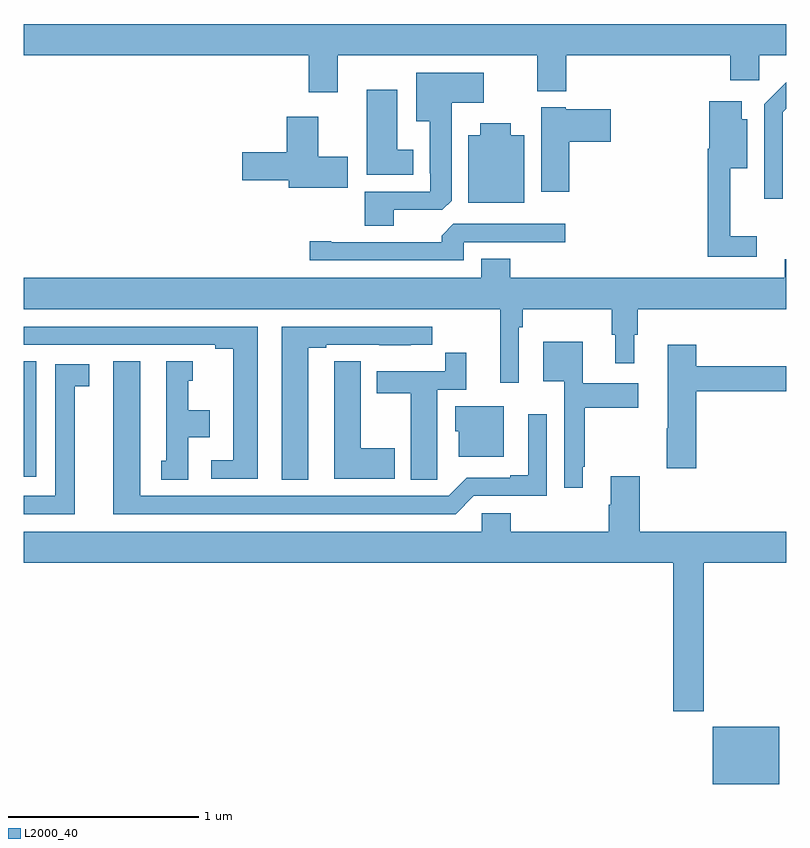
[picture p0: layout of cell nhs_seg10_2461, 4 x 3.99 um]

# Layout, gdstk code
import gdstk
lib = gdstk.Library(unit=1e-6, precision=1e-09)
def R(c, l, rs):  # rectangles x0, y0, x1, y1
    for r in rs: c.add(gdstk.rectangle(r[:2], r[2:], *l))
def P(c, l, *ps):  # polygons
    for p in ps: c.add(gdstk.Polygon(p, *l))
L2000_40 = (2000, 40)

nhs_seg10_2461 = lib.new_cell('nhs_seg10_2461')
R(nhs_seg10_2461, L2000_40, [(246.614,1288.5,246.964,1288.801), (243,1290.111,243.064,1290.719)])
P(nhs_seg10_2461, L2000_40, [(244.648,1292.324),(245.693,1292.324),(245.693,1292.135),(245.846,1292.135),(245.846,1292.324),(246.707,1292.324),(246.707,1292.193),(246.858,1292.193),(246.858,1292.324),(247,1292.324),(247,1292.488),(243,1292.488),(243,1292.324),(244.496,1292.324),(244.496,1292.13),(244.648,1292.13)],
  [(244.942,1291.512),(245.196,1291.512),(245.245,1291.561),(245.245,1292.075),(245.413,1292.075),(245.413,1292.233),(245.06,1292.233),(245.06,1291.979),(245.129,1291.979),(245.129,1291.705),(245.133,1291.705),(245.133,1291.608),(244.79,1291.608),(244.79,1291.429),(244.942,1291.429)],
  [(246.981,1292.025),(247,1292.044),(247,1292.182),(246.885,1292.067),(246.885,1291.572),(246.981,1291.572)],
  [(245.044,1291.828),(244.96,1291.828),(244.96,1292.143),(244.799,1292.143),(244.799,1291.697),(245.044,1291.697)],
  [(246.847,1291.375),(246.707,1291.375),(246.707,1291.73),(246.796,1291.73),(246.796,1291.987),(246.766,1291.987),(246.766,1292.083),(246.596,1292.083),(246.596,1291.834),(246.589,1291.834),(246.589,1291.266),(246.847,1291.266)],
  [(245.861,1291.871),(246.079,1291.871),(246.079,1292.041),(245.844,1292.041),(245.844,1292.05),(245.714,1292.05),(245.714,1291.608),(245.861,1291.608)],
  [(244.699,1291.791),(244.546,1291.791),(244.546,1292.002),(244.379,1292.002),(244.379,1291.814),(244.146,1291.814),(244.146,1291.667),(244.391,1291.667),(244.391,1291.628),(244.699,1291.628)],
  [(245.626,1291.903),(245.554,1291.903),(245.554,1291.966),(245.396,1291.966),(245.396,1291.903),(245.333,1291.903),(245.333,1291.55),(245.626,1291.55)],
  [(245.307,1291.344),(245.842,1291.344),(245.842,1291.44),(245.253,1291.44),(245.192,1291.378),(245.192,1291.344),(244.612,1291.344),(244.612,1291.349),(244.5,1291.349),(244.5,1291.248),(245.307,1291.248)],
  [(245.598,1290.896),(245.618,1290.896),(245.618,1290.992),(246.085,1290.992),(246.085,1290.858),(246.104,1290.858),(246.104,1290.708),(246.202,1290.708),(246.202,1290.858),(246.221,1290.858),(246.221,1290.992),(247,1290.992),(247,1291.254),(246.992,1291.254),(246.992,1291.156),(245.552,1291.156),(245.552,1291.255),(245.399,1291.255),(245.399,1291.156),(243,1291.156),(243,1290.992),(245.501,1290.992),(245.501,1290.606),(245.598,1290.606)],
  [(244.228,1290.9),(243,1290.9),(243,1290.804),(244.004,1290.804),(244.004,1290.784),(244.1,1290.784),(244.1,1290.198),(243.984,1290.198),(243.984,1290.102),(244.228,1290.102)],
  [(244.492,1290.789),(244.588,1290.789),(244.588,1290.804),(244.864,1290.804),(244.864,1290.803),(245.03,1290.803),(245.03,1290.804),(245.143,1290.804),(245.143,1290.9),(244.352,1290.9),(244.352,1290.097),(244.492,1290.097)],
  [(245.932,1290.166),(245.944,1290.166),(245.944,1290.475),(246.223,1290.475),(246.223,1290.604),(245.932,1290.604),(245.932,1290.82),(245.726,1290.82),(245.726,1290.614),(245.835,1290.614),(245.835,1290.054),(245.932,1290.054)],
  [(246.527,1290.562),(247,1290.562),(247,1290.691),(246.527,1290.691),(246.527,1290.805),(246.38,1290.805),(246.38,1290.368),(246.373,1290.368),(246.373,1290.156),(246.527,1290.156)],
  [(245.169,1290.208),(245.17,1290.208),(245.17,1290.57),(245.321,1290.57),(245.321,1290.763),(245.212,1290.763),(245.212,1290.666),(244.853,1290.666),(244.853,1290.55),(245.03,1290.55),(245.03,1290.097),(245.169,1290.097)],
  [(244.945,1290.261),(244.768,1290.261),(244.768,1290.719),(244.629,1290.719),(244.629,1290.611),(244.628,1290.611),(244.628,1290.101),(244.945,1290.101)],
  [(243.862,1290.32),(243.976,1290.32),(243.976,1290.46),(243.862,1290.46),(243.862,1290.615),(243.886,1290.615),(243.886,1290.718),(243.746,1290.718),(243.746,1290.195),(243.722,1290.195),(243.722,1290.097),(243.862,1290.097)],
  [(245.361,1290.012),(245.745,1290.012),(245.745,1290.439),(245.648,1290.439),(245.648,1290.121),(245.552,1290.121),(245.552,1290.108),(245.325,1290.108),(245.229,1290.012),(243.61,1290.012),(243.61,1290.718),(243.47,1290.718),(243.47,1289.916),(245.265,1289.916)],
  [(243.268,1290.586),(243.343,1290.586),(243.343,1290.702),(243.164,1290.702),(243.164,1290.012),(243,1290.012),(243,1289.916),(243.268,1289.916)],
  [(245.518,1290.481),(245.264,1290.481),(245.264,1290.351),(245.282,1290.351),(245.282,1290.218),(245.518,1290.218)],
  [(246.567,1289.66),(247,1289.66),(247,1289.824),(246.233,1289.824),(246.233,1290.115),(246.08,1290.115),(246.08,1289.966),(246.068,1289.966),(246.068,1289.824),(245.555,1289.824),(245.555,1289.922),(245.403,1289.922),(245.403,1289.824),(243,1289.824),(243,1289.66),(246.407,1289.66),(246.407,1288.881),(246.567,1288.881)])

lib.write_gds('nhs_seg10_2461.gds')
